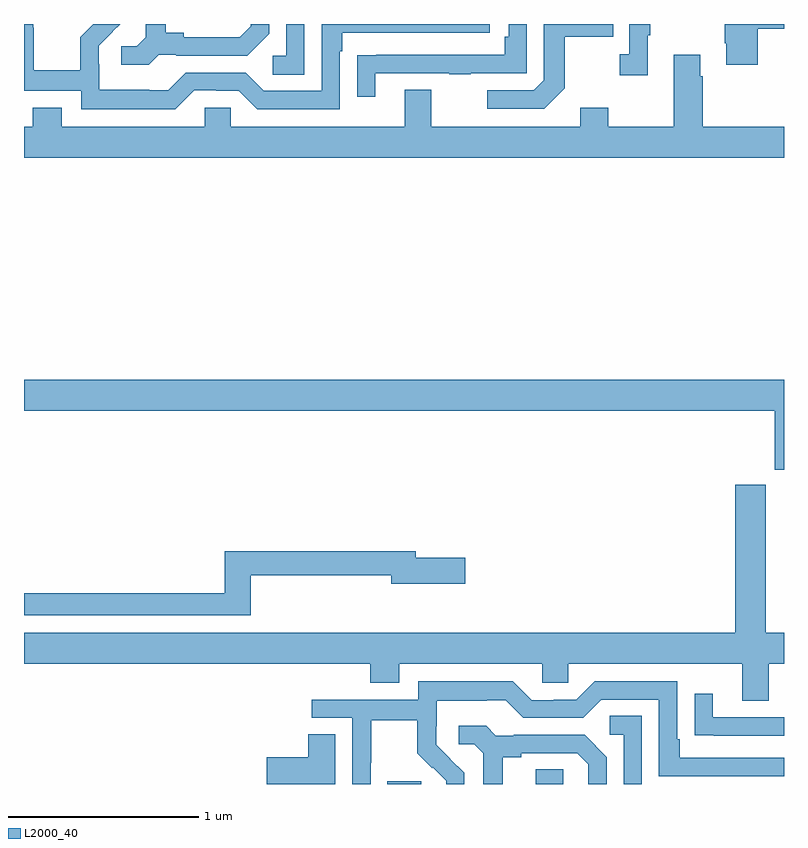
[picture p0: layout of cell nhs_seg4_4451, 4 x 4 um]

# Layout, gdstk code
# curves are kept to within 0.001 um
import gdstk
lib = gdstk.Library(unit=1e-6, precision=1e-09)
def R(c, l, rs):  # rectangles x0, y0, x1, y1
    for r in rs: c.add(gdstk.rectangle(r[:2], r[2:], *l))
def P(c, l, *ps):  # polygons
    for p in ps: c.add(gdstk.Polygon(p, *l))
L2000_40 = (2000, 40)

nhs_seg4_4451 = lib.new_cell('nhs_seg4_4451')
R(nhs_seg4_4451, L2000_40, [(352.913,750.9,353.092,750.915), (353.693,750.9,353.838,750.977)])
P(nhs_seg4_4451, L2000_40, [(354.283,754.841),(354.295,754.841),(354.295,754.9),(354.186,754.9),(354.186,754.742),(354.135,754.742),(354.135,754.629),(354.283,754.629)],
  [(354.863,754.876),(355,754.876),(355,754.9),(354.688,754.9),(354.688,754.798),(354.695,754.798),(354.695,754.686),(354.863,754.686)],
  [(353.845,754.561),(353.845,754.834),(354.101,754.834),(354.101,754.9),(353.736,754.9),(353.736,754.605),(353.682,754.551),(353.439,754.551),(353.439,754.455),(353.739,754.455)],
  [(351.897,754.551),(352.013,754.551),(352.013,754.548),(352.131,754.548),(352.227,754.452),(352.662,754.452),(352.662,754.757),(352.675,754.757),(352.675,754.854),(353.452,754.854),(353.452,754.9),(352.566,754.9),(352.566,754.548),(352.263,754.548),(352.167,754.644),(351.852,754.644),(351.759,754.551),(351.659,754.551),(351.659,754.555),(351.396,754.555),(351.396,754.689),(351.394,754.689),(351.394,754.786),(351.506,754.9),(351.364,754.9),(351.295,754.831),(351.295,754.657),(351.051,754.657),(351.051,754.88),(351.048,754.88),(351.048,754.9),(351,754.9),(351,754.548),(351.3,754.548),(351.3,754.451),(351.797,754.451)],
  [(352.849,754.641),(353.239,754.641),(353.239,754.636),(353.351,754.636),(353.351,754.641),(353.646,754.641),(353.646,754.9),(353.55,754.9),(353.55,754.834),(353.53,754.834),(353.53,754.737),(352.855,754.737),(352.855,754.736),(352.753,754.736),(352.753,754.518),(352.849,754.518)],
  [(352.476,754.9),(352.38,754.9),(352.38,754.734),(352.308,754.734),(352.308,754.633),(352.476,754.633)],
  [(351.708,754.737),(351.802,754.737),(351.802,754.734),(352.174,754.734),(352.29,754.85),(352.29,754.9),(352.193,754.9),(352.193,754.887),(352.136,754.83),(351.841,754.83),(351.841,754.853),(351.745,754.853),(351.745,754.9),(351.641,754.9),(351.641,754.829),(351.594,754.782),(351.513,754.782),(351.513,754.685),(351.656,754.685)],
  [(354.559,754.625),(354.559,754.738),(354.419,754.738),(354.419,754.36),(354.075,754.36),(354.075,754.459),(353.927,754.459),(353.927,754.36),(353.143,754.36),(353.143,754.555),(353.003,754.555),(353.003,754.36),(352.089,754.36),(352.089,754.458),(351.951,754.458),(351.951,754.36),(351.199,754.36),(351.199,754.459),(351.047,754.459),(351.047,754.36),(351,754.36),(351,754.196),(355,754.196),(355,754.36),(354.572,754.36),(354.572,754.625)],
  [(355,753.028),(351,753.028),(351,752.864),(354.95,752.864),(354.95,752.555),(355,752.555)],
  [(354.919,751.532),(355,751.532),(355,751.696),(354.903,751.696),(354.903,752.476),(354.743,752.476),(354.743,751.696),(351,751.696),(351,751.532),(352.823,751.532),(352.823,751.433),(352.975,751.433),(352.975,751.532),(353.727,751.532),(353.727,751.434),(353.865,751.434),(353.865,751.532),(354.779,751.532),(354.779,751.338),(354.919,751.338)],
  [(352.193,751.998),(352.934,751.998),(352.934,751.955),(353.323,751.955),(353.323,752.09),(353.062,752.09),(353.062,752.126),(352.057,752.126),(352.057,751.904),(351,751.904),(351,751.788),(352.193,751.788)],
  [(352.824,751.012),(352.827,751.012),(352.827,751.236),(353.071,751.236),(353.071,751.061),(353.148,750.984),(353.151,750.987),(353.222,750.917),(353.222,750.9),(353.316,750.9),(353.316,750.958),(353.17,751.106),(353.17,751.203),(353.172,751.203),(353.172,751.337),(353.435,751.337),(353.435,751.341),(353.535,751.341),(353.628,751.248),(353.943,751.248),(354.039,751.344),(354.342,751.344),(354.342,750.942),(355,750.942),(355,751.038),(354.451,751.038),(354.451,751.135),(354.438,751.135),(354.438,751.44),(354.003,751.44),(353.907,751.344),(353.789,751.344),(353.789,751.341),(353.673,751.341),(353.573,751.441),(353.076,751.441),(353.076,751.344),(352.515,751.344),(352.515,751.248),(352.728,751.248),(352.728,750.9),(352.824,750.9)],
  [(355,751.251),(354.625,751.251),(354.625,751.375),(354.529,751.375),(354.529,751.156),(354.631,751.156),(354.631,751.155),(355,751.155)],
  [(354.252,751.259),(354.084,751.259),(354.084,751.158),(354.156,751.158),(354.156,750.9),(354.252,750.9)],
  [(353.521,751.04),(353.617,751.04),(353.617,751.062),(353.912,751.062),(353.969,751.005),(353.969,750.9),(354.066,750.9),(354.066,751.042),(353.95,751.158),(353.578,751.158),(353.578,751.155),(353.484,751.155),(353.432,751.207),(353.289,751.207),(353.289,751.11),(353.37,751.11),(353.417,751.063),(353.417,750.9),(353.521,750.9)],
  [(352.639,751.163),(352.496,751.163),(352.496,751.04),(352.278,751.04),(352.278,750.9),(352.639,750.9)])

lib.write_gds('nhs_seg4_4451.gds')
